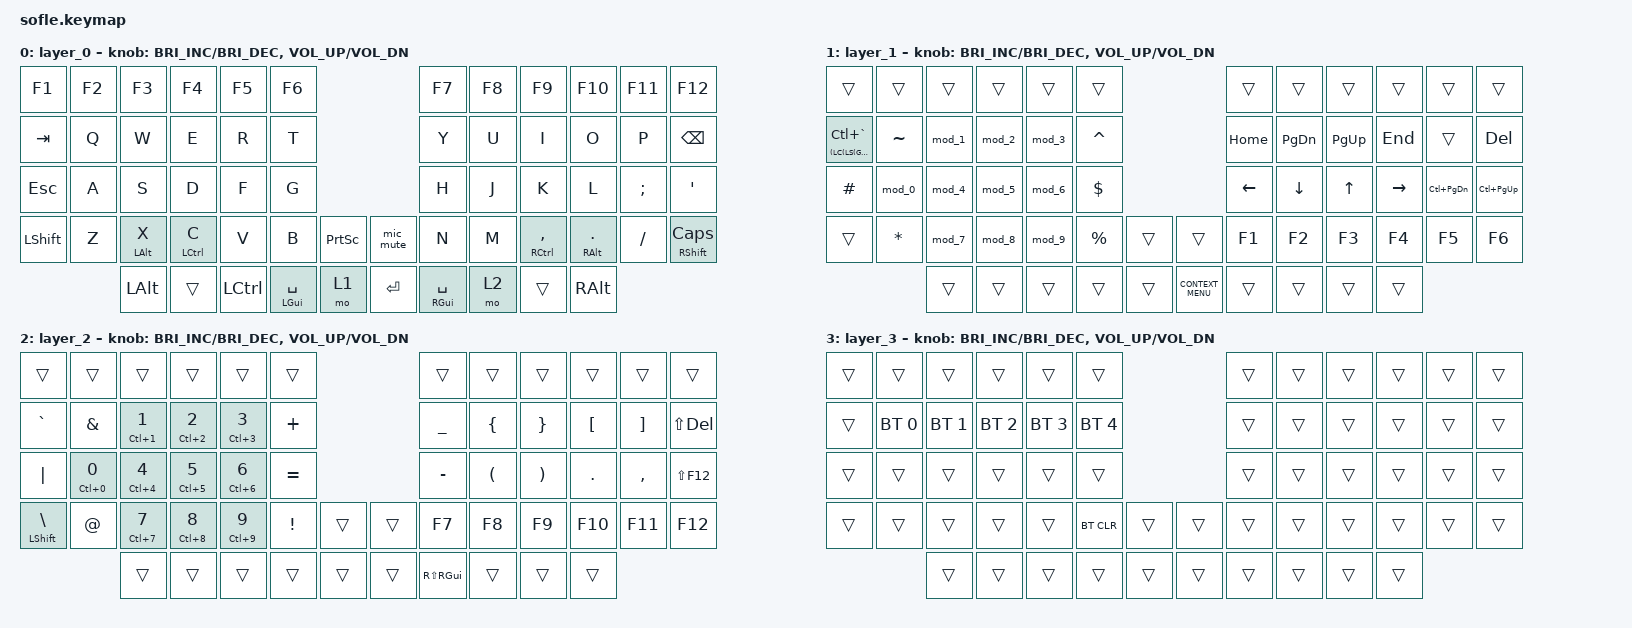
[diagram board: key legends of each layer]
#include <behaviors.dtsi>
#include <dt-bindings/zmk/bt.h>
#include <dt-bindings/zmk/keys.h>

/ {
    conditional_layers {
        compatible = "zmk,conditional-layers";

        adjust {
            if-layers = <1 2>;
            then-layer = <3>;
        };
    };

    macros {
        mod_1: mod_1 {
            compatible = "zmk,behavior-macro";
            #binding-cells = <0>;
            bindings = <&kp RG(N1)>;
            label = "MOD_1";
        };

        mod_2: mod_2 {
            compatible = "zmk,behavior-macro";
            #binding-cells = <0>;
            bindings = <&kp RG(N2)>;
            label = "MOD_2";
        };

        mod_3: mod_3 {
            compatible = "zmk,behavior-macro";
            #binding-cells = <0>;
            bindings = <&kp RG(N3)>;
            label = "MOD_3";
        };

        mod_4: mod_4 {
            compatible = "zmk,behavior-macro";
            #binding-cells = <0>;
            bindings = <&kp RG(N4)>;
            label = "MOD_4";
        };

        mod_5: mod_5 {
            compatible = "zmk,behavior-macro";
            #binding-cells = <0>;
            bindings = <&kp RG(N5)>;
            label = "MOD_5";
        };

        mod_6: mod_6 {
            compatible = "zmk,behavior-macro";
            #binding-cells = <0>;
            bindings = <&kp RG(N6)>;
            label = "MOD_6";
        };

        mod_7: mod_7 {
            compatible = "zmk,behavior-macro";
            #binding-cells = <0>;
            bindings = <&kp RG(N7)>;
            label = "MOD_7";
        };

        mod_8: mod_8 {
            compatible = "zmk,behavior-macro";
            #binding-cells = <0>;
            bindings = <&kp RG(N8)>;
            label = "MOD_8";
        };

        mod_9: mod_9 {
            compatible = "zmk,behavior-macro";
            #binding-cells = <0>;
            bindings = <&kp RG(N9)>;
            label = "MOD_9";
        };

        mod_0: mod_0 {
            compatible = "zmk,behavior-macro";
            #binding-cells = <0>;
            bindings = <&kp RG(N0)>;
            label = "MOD_0";
        };

        mic_mute: mic_mute {
            compatible = "zmk,behavior-macro";
            #binding-cells = <0>;
            bindings = <&kp LS(LC(M))>;
        };
    };

    behaviors {
        mt: mod_tap {
            compatible = "zmk,behavior-hold-tap";
            label = "MT";
            bindings = <&kp>, <&kp>;

            #binding-cells = <2>;
            tapping-term-ms = <150>;
            hold-while-undecided;
        };

        mtt: mod_tap_preferred {
            compatible = "zmk,behavior-hold-tap";
            label = "MTT";
            bindings = <&kp>, <&kp>;

            #binding-cells = <2>;
            tapping-term-ms = <200>;
            flavor = "tap-preferred";
        };
    };

    keymap {
        compatible = "zmk,keymap";

        layer_0 {
            bindings = <
&kp F1      &kp F2  &kp F3       &kp F4        &kp F5     &kp F6                                         &kp F7           &kp F8  &kp F9            &kp F10        &kp F11   &kp F12
&kp TAB     &kp Q   &kp W        &kp E         &kp R      &kp T                                          &kp Y            &kp U   &kp I             &kp O          &kp P     &kp BACKSPACE
&kp ESC     &kp A   &kp S        &kp D         &kp F      &kp G                                          &kp H            &kp J   &kp K             &kp L          &kp SEMI  &kp SQT
&kp LSHIFT  &kp Z   &mtt LALT X  &mtt LCTRL C  &kp V      &kp B            &kp PRINTSCREEN    &mic_mute  &kp N            &kp M   &mtt RCTRL COMMA  &mtt RALT DOT  &kp FSLH  &mt RSHFT CAPS
                    &kp LALT     &trans        &kp LCTRL  &mtt LGUI SPACE  &mo 1              &kp ENTER  &mtt RGUI SPACE  &mo 2   &trans            &kp RALT
            >;

            sensor-bindings =
                <&inc_dec_kp C_BRI_INC C_BRI_DEC>,
                <&inc_dec_kp C_VOL_UP C_VOL_DN>;
        };

        layer_1 {
            bindings = <
&trans                          &trans     &trans  &trans  &trans  &trans                                   &trans    &trans     &trans     &trans     &trans         &trans
&mtt (LC(LS(GRAVE))) LC(GRAVE)  &kp TILDE  &mod_1  &mod_2  &mod_3  &kp CARET                                &kp HOME  &kp PG_DN  &kp PG_UP  &kp END    &trans         &kp DEL
&kp HASH                        &mod_0     &mod_4  &mod_5  &mod_6  &kp DLLR                                 &kp LEFT  &kp DOWN   &kp UP     &kp RIGHT  &kp LC(PG_DN)  &kp LC(PG_UP)
&trans                          &kp ASTRK  &mod_7  &mod_8  &mod_9  &kp PRCNT  &trans    &trans              &kp F1    &kp F2     &kp F3     &kp F4     &kp F5         &kp F6
                                           &trans  &trans  &trans  &trans     &trans    &kp K_CONTEXT_MENU  &trans    &trans     &trans     &trans
            >;

            sensor-bindings =
                <&inc_dec_kp C_BRI_INC C_BRI_DEC>,
                <&inc_dec_kp C_VOL_UP C_VOL_DN>;
        };

        layer_2 {
            bindings = <
&trans                &trans          &trans          &trans          &trans          &trans                       &trans             &trans    &trans    &trans      &trans     &trans
&kp GRAVE             &kp AMPS        &mtt LC(N1) N1  &mtt LC(N2) N2  &mtt LC(N3) N3  &kp PLUS                     &kp UNDER          &kp LBRC  &kp RBRC  &kp LBKT    &kp RBKT   &kp LS(DEL)
&kp PIPE              &mtt LC(N0) N0  &mtt LC(N4) N4  &mtt LC(N5) N5  &mtt LC(N6) N6  &kp EQUAL                    &kp MINUS          &kp LPAR  &kp RPAR  &kp PERIOD  &kp COMMA  &kp LS(F12)
&mtt LEFT_SHIFT BSLH  &kp AT          &mtt LC(N7) N7  &mtt LC(N8) N8  &mtt LC(N9) N9  &kp EXCL   &trans    &trans  &kp F7             &kp F8    &kp F9    &kp F10     &kp F11    &kp F12
                                      &trans          &trans          &trans          &trans     &trans    &trans  &kp RS(RIGHT_GUI)  &trans    &trans    &trans
            >;

            sensor-bindings =
                <&inc_dec_kp C_BRI_INC C_BRI_DEC>,
                <&inc_dec_kp C_VOL_UP C_VOL_DN>;
        };

        layer_3 {
            bindings = <
&trans  &trans        &trans        &trans        &trans        &trans                          &trans  &trans  &trans  &trans  &trans  &trans
&trans  &bt BT_SEL 0  &bt BT_SEL 1  &bt BT_SEL 2  &bt BT_SEL 3  &bt BT_SEL 4                    &trans  &trans  &trans  &trans  &trans  &trans
&trans  &trans        &trans        &trans        &trans        &trans                          &trans  &trans  &trans  &trans  &trans  &trans
&trans  &trans        &trans        &trans        &trans        &bt BT_CLR    &trans    &trans  &trans  &trans  &trans  &trans  &trans  &trans
                      &trans        &trans        &trans        &trans        &trans    &trans  &trans  &trans  &trans  &trans
            >;

            sensor-bindings =
                <&inc_dec_kp C_BRI_INC C_BRI_DEC>,
                <&inc_dec_kp C_VOL_UP C_VOL_DN>;
        };
    };
};
